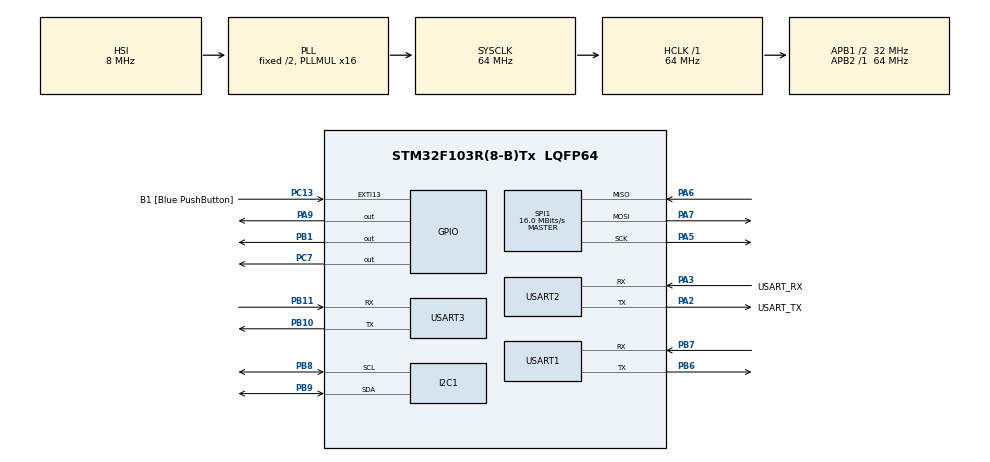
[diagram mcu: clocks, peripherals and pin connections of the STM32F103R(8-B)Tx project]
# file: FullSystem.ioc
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Mcu.Family=STM32F1
Mcu.Name=STM32F103R(8-B)Tx
Mcu.Package=LQFP64
NVIC.EXTI15_10_IRQn=true\:0\:0\:false\:false\:true\:true\:true\:true
NVIC.PriorityGroup=NVIC_PRIORITYGROUP_4
PA13.GPIO_Label=TMS
PA13.Mode=Serial_Wire
PA13.Signal=SYS_JTMS-SWDIO
PA14.GPIO_Label=TCK
PA14.Mode=Serial_Wire
PA14.Signal=SYS_JTCK-SWCLK
PA2.GPIO_Label=USART_TX
PA2.GPIO_Mode=GPIO_MODE_AF_PP
PA2.GPIO_PuPd=GPIO_NOPULL
PA2.GPIO_Speed=GPIO_SPEED_FREQ_LOW
PA2.Mode=Asynchronous
PA2.Signal=USART2_TX
PA3.GPIO_Label=USART_RX
PA3.GPIO_Mode=GPIO_MODE_AF_PP
PA3.GPIO_PuPd=GPIO_NOPULL
PA3.GPIO_Speed=GPIO_SPEED_FREQ_LOW
PA3.Mode=Asynchronous
PA3.Signal=USART2_RX
PA5.Mode=Full_Duplex_Master
PA5.Signal=SPI1_SCK
PA6.Mode=Full_Duplex_Master
PA6.Signal=SPI1_MISO
PA7.Mode=Full_Duplex_Master
PA7.Signal=SPI1_MOSI
PA9.Signal=GPIO_Output
PB1.Signal=GPIO_Output
PB10.Mode=Asynchronous
PB10.Signal=USART3_TX
PB11.Mode=Asynchronous
PB11.Signal=USART3_RX
PB3.GPIO_Label=SWO
PB3.Signal=SYS_JTDO-TRACESWO
PB6.Mode=Asynchronous
PB6.Signal=USART1_TX
PB7.Mode=Asynchronous
PB7.Signal=USART1_RX
PB8.Mode=I2C
PB8.Signal=I2C1_SCL
PB9.Mode=I2C
PB9.Signal=I2C1_SDA
PC13-TAMPER-RTC.GPIO_Label=B1 [Blue PushButton]
PC13-TAMPER-RTC.GPIO_PuPd=GPIO_NOPULL
PC13-TAMPER-RTC.Signal=GPXTI13
PC14-OSC32_IN.Mode=LSE-External-Oscillator
PC14-OSC32_IN.Signal=RCC_OSC32_IN
PC15-OSC32_OUT.Mode=LSE-External-Oscillator
PC15-OSC32_OUT.Signal=RCC_OSC32_OUT
PC7.Signal=GPIO_Output
PD0-OSC_IN.Mode=HSE-External-Clock-Source
PD0-OSC_IN.Signal=RCC_OSC_IN
PD1-OSC_OUT.Mode=HSE-External-Clock-Source
PD1-OSC_OUT.Signal=RCC_OSC_OUT
ProjectManager.HeapSize=0x200
ProjectManager.StackSize=0x400
ProjectManager.TargetToolchain=STM32CubeIDE
RCC.AHBFreq_Value=64000000
RCC.APB1CLKDivider=RCC_HCLK_DIV2
RCC.APB1Freq_Value=32000000
RCC.APB1TimFreq_Value=64000000
RCC.APB2Freq_Value=64000000
RCC.APB2TimFreq_Value=64000000
RCC.HCLKFreq_Value=64000000
RCC.PLLMUL=RCC_PLL_MUL16
RCC.RTCClockSelection=RCC_RTCCLKSOURCE_LSE
RCC.SYSCLKFreq_VALUE=64000000
RCC.SYSCLKSource=RCC_SYSCLKSOURCE_PLLCLK
RCC.USBFreq_Value=64000000
SPI1.BaudRatePrescaler=SPI_BAUDRATEPRESCALER_4
SPI1.CalculateBaudRate=16.0 MBits/s
SPI1.Direction=SPI_DIRECTION_2LINES
SPI1.Mode=SPI_MODE_MASTER
SPI1.VirtualType=VM_MASTER
USART1.VirtualMode=VM_ASYNC
USART2.VirtualMode=VM_ASYNC
USART3.VirtualMode=VM_ASYNC
board=NUCLEO-F103RB

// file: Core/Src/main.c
/* USER CODE BEGIN Header */
/**
 ******************************************************************************
 * @file           : main.c
 * @brief          : Main program body
 ******************************************************************************
 * @attention
 *
 * Copyright (c) 2023 STMicroelectronics.
 * All rights reserved.
 *
 * This software is licensed under terms that can be found in the LICENSE file
 * in the root directory of this software component.
 * If no LICENSE file comes with this software, it is provided AS-IS.
 *
 ******************************************************************************
 */
/* USER CODE END Header */
#include "main.h"
#include <string.h>
#include <stdio.h>
#include <math.h>
#include <TerminalOutputs.h>
#include <RadioFunctions.h>
#include <MPU6050Functions.h>
#include <BMM150Functions.h>
#include <CameraFunctions.h>
#include <LM75Functions.h>

/* USER CODE BEGIN PD */
#define	IDLE	0
#define	RX_MODE	1
#define	TX_MODE	2
#define	START	3

#define BMP 	0
#define JPEG	1
#define RAW	  2

#define Auto                 0
#define Sunny                1
#define Cloudy               2
#define Office               3
#define Home                 4

//Special effects

#define Antique                      0
#define Bluish                       1
#define Greenish                     2
#define Reddish                      3
#define BW                           4
#define Negative                     5
#define BWnegative                   6
#define Normal                       7
#define Sepia                        8
#define Overexposure                 9
#define Solarize                     10
#define  Blueish                     11
#define Yellowish                    12

#define OV2640_160x120 		0	//160x120
#define OV2640_176x144 		1	//176x144
#define OV2640_320x240 		2	//320x240
#define OV2640_352x288 		3	//352x288
#define OV2640_640x480		4	//640x480
#define OV2640_800x600 		5	//800x600
#define OV2640_1024x768		6	//1024x768
#define OV2640_1280x1024	7	//1280x1024
#define OV2640_1600x1200	8	//1600x1200

uint8_t format = RAW;
uint8_t light_mode = Office;
uint8_t effects = BW;
uint8_t resolution = OV2640_160x120;
/* USER CODE END PD */

I2C_HandleTypeDef hi2c1;

SPI_HandleTypeDef hspi1;

UART_HandleTypeDef huart1;
UART_HandleTypeDef huart2;
UART_HandleTypeDef huart3;

void SystemClock_Config(void);
static void MX_GPIO_Init(void);
static void MX_USART2_UART_Init(void);
static void MX_I2C1_Init(void);
static void MX_SPI1_Init(void);
static void MX_USART1_UART_Init(void);
static void MX_USART3_UART_Init(void);

int main(void) {

	/* MCU Configuration--------------------------------------------------------*/

	/* Reset of all peripherals, Initializes the Flash interface and the Systick. */

	HAL_Init();

	/* Configure the system clock */
	SystemClock_Config();

	/* Initialize all configured peripherals */
	MX_GPIO_Init();

	MX_USART2_UART_Init();
	MX_I2C1_Init();
	MX_SPI1_Init();
	MX_USART1_UART_Init();
	MX_USART3_UART_Init();
	/* USER CODE BEGIN 2 */
///////////////////////////////////////////////////////////////////////////////	Radio Init	//////////////////////////////////////////////////
	while (GetRadioInfo(huart1, huart2) != 0x53) {
		count_init(huart2);
		newlineFinal(huart2);
	}
	newline(huart2);
	while (GetRadioInfo(huart3, huart2) != 0x55) {
		count_init(huart2);
		newlineFinal(huart2);
	}
///////////////////////////////////////////////////////////////////////////////	Tel Init	//////////////////////////////////////////////////
	MPU6050_Init(hi2c1);

//	BMM150_Normal(hspi1);
//	BMM150_Set(hspi1);			//init in SM

	LM75_init(hi2c1);

	uint8_t commands[16];
	const uint8_t img_cmd160x120[4] = { 0x20, 0x01, 0x01, 0x02 };
	const uint8_t img_cmd320x240[4] = { 0x20, 0x02, 0x01, 0x02 };
	const uint8_t img_cmd640x480[4] = { 0x20, 0x03, 0x01, 0x02 };
	uint8_t TXPacket[32];
	int cmd_recieved = 0;
	uint8_t RadioStateSBand = IDLE;
	uint8_t RadioStateUHF = IDLE;
	/* USER CODE END 2 */

	/* Infinite loop */
	while (1) {
		count_init(huart2);
///////////////////////////////////////////////////////////////////////////////	SBand Trans		/////////////////////////////////////////////
		switch (RadioStateSBand) {
		case START:
			RadioStateSBand = IDLE;
			IDLEMode(huart1, huart2);
		case IDLE:
			RadioStateSBand = RX_MODE;
			RXMode(huart1, huart2);
			break;
		case RX_MODE:
			if (cmd_recieved == 1) {
				RadioStateSBand = TX_MODE;
				TXMode(huart1, huart2);
				FlushRXBuffer(huart1, huart2);
				cmd_recieved = 0;
			} else {
				RadioStateSBand = RX_MODE;
			}
			break;
		case TX_MODE:
			RadioStateSBand = RX_MODE;
			RXMode(huart1, huart2);
			break;
		}

///////////////////////////////////////////////////////////////////////////////	SBand SM	//////////////////////////////////////////////////
		switch (RadioStateSBand) {
		case IDLE:
			break;
		case RX_MODE:
			while (GetRXNumPackets(huart1, huart2) != 0) {
				GetRXBufferState(huart1, huart2);
				ReadRXBuffer(huart1, huart2, commands, 16);
				if (compare_buffer(huart2, commands, img_cmd160x120, 4)
						|| compare_buffer(huart2, commands, img_cmd320x240, 4)
						|| compare_buffer(huart2, commands, img_cmd640x480,
								4)) {
					print_string(huart2, "Image command recieved.");
					newline(huart2);
					if (commands[1] == 2) {
						resolution = OV2640_320x240;
					} else if (commands[1] == 3) {
						resolution = OV2640_640x480;
					} else {
						resolution = OV2640_160x120;
					}
					cmd_recieved = 1;
					break;
				}
				print_string(huart2, "Recieved Packet: ");
				send_buffer(huart2, commands, 16);
			}
			break;
		case TX_MODE:
			OV2640_init(hi2c1, hspi1, format, resolution, light_mode, effects);
			while (!OV2640_init(hi2c1, hspi1, format, resolution, light_mode,
					effects)) {
				print_string(huart2, "OV2640 not initialized");
				newline(huart2);
				HAL_Delay(1000);
			}
			print_string(huart2, "OV2640 initialized");
			newline(huart2);

			start_capture(hspi1, huart2);
			while (!capture_ready(hspi1)) {
				HAL_Delay(100);
				print_string(huart2, "Capture is not ready...delaying...");
				newline(huart2);
			}
			print_string(huart2, "Capture ready");
			newline(huart2);
			print_string(huart2, "Transmitting image...");
			uint8_t res_packet[18];
			uint16_t max_index;
			memset(res_packet, 0, 18);
			res_packet[0] = 0x52;
			if (resolution == OV2640_320x240) {
				res_packet[1] = 0x02;
				max_index = 4800;
			} else if (resolution == OV2640_640x480) {
				res_packet[1] = 0x03;
				max_index = 19200;
			} else {
				res_packet[1] = 0x01;
				max_index = 1200;
			}
			for (int i = 0; i < 10; i++) {
				WriteTXBuffer(huart1, huart2, res_packet, 18);
			}
			uint32_t length = read_fifo_length(hspi1);
			uint8_t img_buf[32];
			uint8_t img_packet[18];
			uint16_t img_index = 0;
			while (length >= 32 && img_index <= max_index) {
				get_FIFO_bytes(hspi1, img_buf, 32);
				//send_buffer(huart2, img_buf, 32);
				make_img_packet(img_buf, img_packet, img_index);
				while (GetTXActiveState(huart1, huart2) == 1)
					;
				WriteTXBuffer(huart1, huart2, img_packet, 18);
				WriteTXBuffer(huart1, huart2, img_packet, 18); //second send for better quality
				if (img_index == 0) {
					for (int i = 0; i < 10; i++) {
						WriteTXBuffer(huart1, huart2, img_packet, 18);
					}
				}
				img_index++;
				length -= 32;
			}
			reset_camera(hi2c1, hspi1, format);
			break;
		default:
			RadioStateSBand = IDLE;
		}

///////////////////////////////////////////////////////////////////////////////	UHF Trans	//////////////////////////////////////////////////
		switch (RadioStateUHF) {
		case START:
			RadioStateUHF = IDLE;
			IDLEMode(huart3, huart2);
		case IDLE:
			RadioStateUHF = TX_MODE;
			//FlushRXBuffer(huart3, huart2);
			TXMode(huart3, huart2);
			break;
		case RX_MODE:
//			RadioStateUHF = TX_MODE;
//			TXMode(huart3, huart2);
			break;
		case TX_MODE:
			RadioStateUHF = TX_MODE;
			//FlushRXBuffer(huart3, huart2);
			//RXMode(huart3, huart2);
			break;
		default:
			RadioStateSBand = IDLE;
		}

///////////////////////////////////////////////////////////////////////////////	UHF SM	//////////////////////////////////////////////////////
		switch (RadioStateUHF) {
		case START:
		case IDLE:
			break;
		case RX_MODE:
			break;
		case TX_MODE:
			BMM150_Normal(hspi1);
			BMM150_Set(hspi1);

			MPU6050_Read_Accel(hi2c1, huart2, TXPacket);
			MPU6050_Read_Gyro(hi2c1, huart2, TXPacket);
			print_string(huart2, "	");
			BMM150getData(hspi1, huart2, TXPacket);
			print_string(huart2, "	");
			TXPacket[0] = 0x54;
			TXPacket[1] = (uint8_t) (count >> 24) & 0xFF;
			TXPacket[2] = (uint8_t) (count >> 16) & 0xFF;
			TXPacket[3] = (uint8_t) (count >> 8) & 0xFF;
			TXPacket[4] = (uint8_t) count & 0xFF;
			TXPacket[14] = getTempLM75(hi2c1, huart2);
			TXPacket[15] = sum_bits(count, 32);
			TXPacket[16] = 0;
			for (int i = 0; i < 6; i++) {
				TXPacket[16] |= (sum_bits(TXPacket[i + 5], 8) & 0x01)
						<< (7 - i);
			}
			TXPacket[17] = 0;
			for (int i = 0; i < 4; i++) {
				TXPacket[17] |= (sum_bits(TXPacket[i + 11], 8) & 0x01)
						<< (7 - i);
			}
			TXPacket[31] = '\n';
			//newline(huart2);
			//print_string(huart2, "Sending Packet: ");
			//send_buffer(huart2, TXPacket, 32);
			while (GetTXActiveState(huart3, huart2) == 1) {
				//				print_string(huart2, "TX_ACTIVE");
				//				newline(huart2);
				//				HAL_Delay(10);
			}
			WriteTXBuffer(huart3, huart2, TXPacket, 32);
			break;
		default:
			RadioStateSBand = IDLE;
		}
		newlineFinal(huart2);

	}
}

void SystemClock_Config(void) {
	RCC_OscInitTypeDef RCC_OscInitStruct = { 0 };
	RCC_ClkInitTypeDef RCC_ClkInitStruct = { 0 };

	/** Initializes the RCC Oscillators according to the specified parameters
	 * in the RCC_OscInitTypeDef structure.
	 */
	RCC_OscInitStruct.OscillatorType = RCC_OSCILLATORTYPE_HSI;
	RCC_OscInitStruct.HSIState = RCC_HSI_ON;
	RCC_OscInitStruct.HSICalibrationValue = RCC_HSICALIBRATION_DEFAULT;
	RCC_OscInitStruct.PLL.PLLState = RCC_PLL_ON;
	RCC_OscInitStruct.PLL.PLLSource = RCC_PLLSOURCE_HSI_DIV2;
	RCC_OscInitStruct.PLL.PLLMUL = RCC_PLL_MUL16;
	if (HAL_RCC_OscConfig(&RCC_OscInitStruct) != HAL_OK) {
		Error_Handler();
	}

	/** Initializes the CPU, AHB and APB buses clocks
	 */
	RCC_ClkInitStruct.ClockType = RCC_CLOCKTYPE_HCLK | RCC_CLOCKTYPE_SYSCLK
			| RCC_CLOCKTYPE_PCLK1 | RCC_CLOCKTYPE_PCLK2;
	RCC_ClkInitStruct.SYSCLKSource = RCC_SYSCLKSOURCE_PLLCLK;
	RCC_ClkInitStruct.AHBCLKDivider = RCC_SYSCLK_DIV1;
	RCC_ClkInitStruct.APB1CLKDivider = RCC_HCLK_DIV2;
	RCC_ClkInitStruct.APB2CLKDivider = RCC_HCLK_DIV1;

	if (HAL_RCC_ClockConfig(&RCC_ClkInitStruct, FLASH_LATENCY_2) != HAL_OK) {
		Error_Handler();
	}
}

static void MX_I2C1_Init(void) {

	hi2c1.Instance = I2C1;
	hi2c1.Init.ClockSpeed = 100000;
	hi2c1.Init.DutyCycle = I2C_DUTYCYCLE_2;
	hi2c1.Init.OwnAddress1 = 0;
	hi2c1.Init.AddressingMode = I2C_ADDRESSINGMODE_7BIT;
	hi2c1.Init.DualAddressMode = I2C_DUALADDRESS_DISABLE;
	hi2c1.Init.OwnAddress2 = 0;
	hi2c1.Init.GeneralCallMode = I2C_GENERALCALL_DISABLE;
	hi2c1.Init.NoStretchMode = I2C_NOSTRETCH_DISABLE;
	if (HAL_I2C_Init(&hi2c1) != HAL_OK) {
		Error_Handler();
	}

}

static void MX_SPI1_Init(void) {

	/* SPI1 parameter configuration*/
	hspi1.Instance = SPI1;
	hspi1.Init.Mode = SPI_MODE_MASTER;
	hspi1.Init.Direction = SPI_DIRECTION_2LINES;
	hspi1.Init.DataSize = SPI_DATASIZE_8BIT;
	hspi1.Init.CLKPolarity = SPI_POLARITY_LOW;
	hspi1.Init.CLKPhase = SPI_PHASE_1EDGE;
	hspi1.Init.NSS = SPI_NSS_SOFT;
	hspi1.Init.BaudRatePrescaler = SPI_BAUDRATEPRESCALER_4;
	hspi1.Init.FirstBit = SPI_FIRSTBIT_MSB;
	hspi1.Init.TIMode = SPI_TIMODE_DISABLE;
	hspi1.Init.CRCCalculation = SPI_CRCCALCULATION_DISABLE;
	hspi1.Init.CRCPolynomial = 10;
	if (HAL_SPI_Init(&hspi1) != HAL_OK) {
		Error_Handler();
	}

}

static void MX_USART1_UART_Init(void) {

	huart1.Instance = USART1;
	huart1.Init.BaudRate = 115200;
	huart1.Init.WordLength = UART_WORDLENGTH_8B;
	huart1.Init.StopBits = UART_STOPBITS_1;
	huart1.Init.Parity = UART_PARITY_NONE;
	huart1.Init.Mode = UART_MODE_TX_RX;
	huart1.Init.HwFlowCtl = UART_HWCONTROL_NONE;
	huart1.Init.OverSampling = UART_OVERSAMPLING_16;
	if (HAL_UART_Init(&huart1) != HAL_OK) {
		Error_Handler();
	}

}

static void MX_USART2_UART_Init(void) {

	huart2.Instance = USART2;
	huart2.Init.BaudRate = 115200;
	huart2.Init.WordLength = UART_WORDLENGTH_8B;
	huart2.Init.StopBits = UART_STOPBITS_1;
	huart2.Init.Parity = UART_PARITY_NONE;
	huart2.Init.Mode = UART_MODE_TX_RX;
	huart2.Init.HwFlowCtl = UART_HWCONTROL_NONE;
	huart2.Init.OverSampling = UART_OVERSAMPLING_16;
	if (HAL_UART_Init(&huart2) != HAL_OK) {
		Error_Handler();
	}

}

static void MX_USART3_UART_Init(void) {

	huart3.Instance = USART3;
	huart3.Init.BaudRate = 115200;
	huart3.Init.WordLength = UART_WORDLENGTH_8B;
	huart3.Init.StopBits = UART_STOPBITS_1;
	huart3.Init.Parity = UART_PARITY_NONE;
	huart3.Init.Mode = UART_MODE_TX_RX;
	huart3.Init.HwFlowCtl = UART_HWCONTROL_NONE;
	huart3.Init.OverSampling = UART_OVERSAMPLING_16;
	if (HAL_UART_Init(&huart3) != HAL_OK) {
		Error_Handler();
	}

}

static void MX_GPIO_Init(void) {
	GPIO_InitTypeDef GPIO_InitStruct = { 0 };

	/* GPIO Ports Clock Enable */
	__HAL_RCC_GPIOC_CLK_ENABLE();
	__HAL_RCC_GPIOD_CLK_ENABLE();
	__HAL_RCC_GPIOA_CLK_ENABLE();
	__HAL_RCC_GPIOB_CLK_ENABLE();

	/*Configure GPIO pin Output Level */
	HAL_GPIO_WritePin(GPIOB, GPIO_PIN_1, GPIO_PIN_RESET);

	/*Configure GPIO pin Output Level */
	HAL_GPIO_WritePin(GPIOC, GPIO_PIN_7, GPIO_PIN_RESET);

	/*Configure GPIO pin Output Level */
	HAL_GPIO_WritePin(GPIOA, GPIO_PIN_9, GPIO_PIN_RESET);

	/*Configure GPIO pin : B1_Pin */
	GPIO_InitStruct.Pin = B1_Pin;
	GPIO_InitStruct.Mode = GPIO_MODE_IT_RISING;
	GPIO_InitStruct.Pull = GPIO_NOPULL;
	HAL_GPIO_Init(B1_GPIO_Port, &GPIO_InitStruct);

	/*Configure GPIO pin : PB1 */
	GPIO_InitStruct.Pin = GPIO_PIN_1;
	GPIO_InitStruct.Mode = GPIO_MODE_OUTPUT_PP;
	GPIO_InitStruct.Pull = GPIO_NOPULL;
	GPIO_InitStruct.Speed = GPIO_SPEED_FREQ_LOW;
	HAL_GPIO_Init(GPIOB, &GPIO_InitStruct);

	/*Configure GPIO pin : PC7 */
	GPIO_InitStruct.Pin = GPIO_PIN_7;
	GPIO_InitStruct.Mode = GPIO_MODE_OUTPUT_PP;
	GPIO_InitStruct.Pull = GPIO_NOPULL;
	GPIO_InitStruct.Speed = GPIO_SPEED_FREQ_LOW;
	HAL_GPIO_Init(GPIOC, &GPIO_InitStruct);

	/*Configure GPIO pin : PA9 */
	GPIO_InitStruct.Pin = GPIO_PIN_9;
	GPIO_InitStruct.Mode = GPIO_MODE_OUTPUT_PP;
	GPIO_InitStruct.Pull = GPIO_NOPULL;
	GPIO_InitStruct.Speed = GPIO_SPEED_FREQ_LOW;
	HAL_GPIO_Init(GPIOA, &GPIO_InitStruct);

	/* EXTI interrupt init*/
	HAL_NVIC_SetPriority(EXTI15_10_IRQn, 0, 0);
	HAL_NVIC_EnableIRQ(EXTI15_10_IRQn);

}

void Error_Handler(void) {
	__disable_irq();
	while (1) {
	}
}
